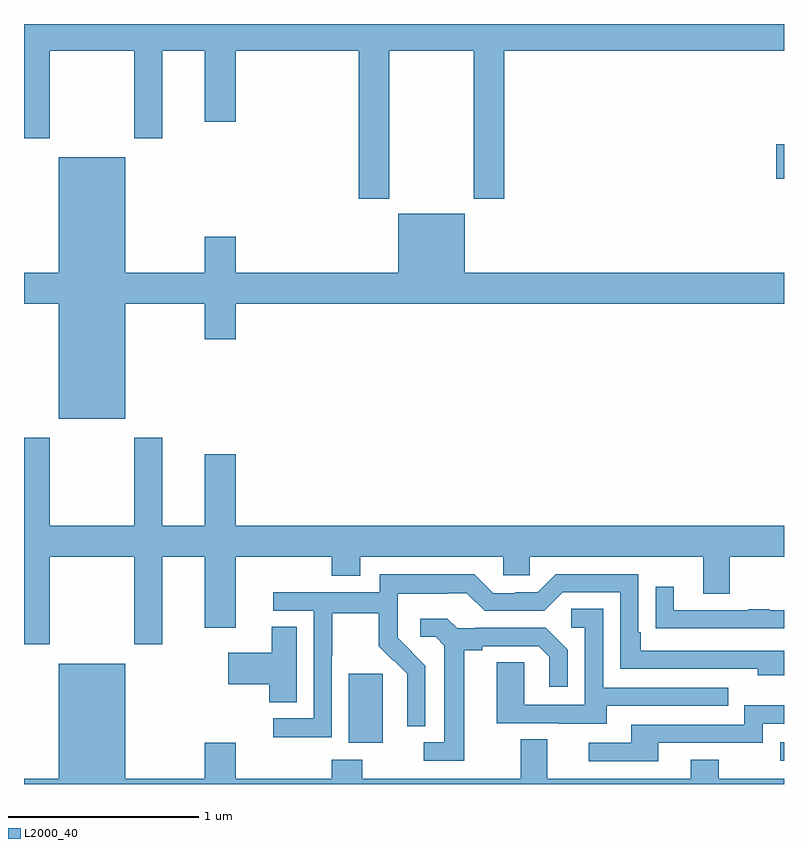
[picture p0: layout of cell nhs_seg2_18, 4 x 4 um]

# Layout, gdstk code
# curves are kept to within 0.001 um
import gdstk
lib = gdstk.Library(unit=1e-6, precision=1e-09)
def R(c, l, rs):  # rectangles x0, y0, x1, y1
    for r in rs: c.add(gdstk.rectangle(r[:2], r[2:], *l))
def P(c, l, *ps):  # polygons
    for p in ps: c.add(gdstk.Polygon(p, *l))
L2000_40 = (2000, 40)

nhs_seg2_18 = lib.new_cell('nhs_seg2_18')
R(nhs_seg2_18, L2000_40, [(114.981,619.923,115,620.019), (112.709,620.018,112.888,620.379), (114.96,622.985,115,623.168)])
P(nhs_seg2_18, L2000_40, [(112.923,623.66),(113.368,623.66),(113.368,622.881),(113.528,622.881),(113.528,623.66),(115,623.66),(115,623.8),(111,623.8),(111,623.199),(111.135,623.199),(111.135,623.66),(111.58,623.66),(111.58,623.199),(111.727,623.199),(111.727,623.66),(111.95,623.66),(111.95,623.286),(112.114,623.286),(112.114,623.66),(112.763,623.66),(112.763,622.881),(112.923,622.881)],
  [(111.532,622.328),(111.95,622.328),(111.95,622.14),(112.114,622.14),(112.114,622.328),(115,622.328),(115,622.492),(113.32,622.492),(113.32,622.801),(112.97,622.801),(112.97,622.492),(112.114,622.492),(112.114,622.681),(111.95,622.681),(111.95,622.492),(111.532,622.492),(111.532,623.098),(111.182,623.098),(111.182,622.492),(111,622.492),(111,622.328),(111.182,622.328),(111.182,621.722),(111.532,621.722)],
  [(111.135,620.996),(111.58,620.996),(111.58,620.535),(111.727,620.535),(111.727,620.996),(111.95,620.996),(111.95,620.622),(112.114,620.622),(112.114,620.996),(112.619,620.996),(112.619,620.897),(112.771,620.897),(112.771,620.996),(113.523,620.996),(113.523,620.898),(113.661,620.898),(113.661,620.996),(114.575,620.996),(114.575,620.802),(114.715,620.802),(114.715,620.996),(115,620.996),(115,621.16),(112.114,621.16),(112.114,621.535),(111.95,621.535),(111.95,621.16),(111.727,621.16),(111.727,621.622),(111.58,621.622),(111.58,621.16),(111.135,621.16),(111.135,621.622),(111,621.622),(111,620.535),(111.135,620.535)],
  [(112.62,620.476),(112.623,620.476),(112.623,620.7),(112.867,620.7),(112.867,620.525),(112.944,620.448),(112.947,620.451),(113.018,620.381),(113.018,620.258),(113.016,620.258),(113.016,620.104),(113.112,620.104),(113.112,620.422),(112.966,620.57),(112.966,620.667),(112.968,620.667),(112.968,620.801),(113.231,620.801),(113.231,620.805),(113.331,620.805),(113.424,620.712),(113.739,620.712),(113.835,620.808),(114.138,620.808),(114.138,620.406),(114.863,620.406),(114.863,620.372),(115,620.372),(115,620.502),(114.247,620.502),(114.247,620.599),(114.234,620.599),(114.234,620.904),(113.799,620.904),(113.703,620.808),(113.585,620.808),(113.585,620.805),(113.469,620.805),(113.369,620.905),(112.872,620.905),(112.872,620.808),(112.311,620.808),(112.311,620.712),(112.524,620.712),(112.524,620.145),(112.311,620.145),(112.311,620.047),(112.62,620.047)],
  [(115,620.715),(114.923,620.715),(114.923,620.72),(114.811,620.72),(114.811,620.715),(114.421,620.715),(114.421,620.839),(114.325,620.839),(114.325,620.62),(114.427,620.62),(114.427,620.619),(115,620.619)],
  [(114.067,620.211),(114.707,620.211),(114.707,620.307),(114.048,620.307),(114.048,620.723),(113.88,620.723),(113.88,620.622),(113.952,620.622),(113.952,620.217),(113.634,620.217),(113.634,620.441),(113.489,620.441),(113.489,620.121),(113.813,620.121),(113.813,620.117),(114.067,620.117)],
  [(113.317,620.504),(113.413,620.504),(113.413,620.526),(113.708,620.526),(113.765,620.469),(113.765,620.313),(113.862,620.313),(113.862,620.506),(113.746,620.622),(113.374,620.622),(113.374,620.619),(113.28,620.619),(113.228,620.671),(113.085,620.671),(113.085,620.574),(113.166,620.574),(113.213,620.527),(113.213,620.019),(113.103,620.019),(113.103,619.923),(113.317,619.923)],
  [(112.435,620.627),(112.304,620.627),(112.304,620.491),(112.074,620.491),(112.074,620.326),(112.292,620.326),(112.292,620.23),(112.435,620.23)],
  [(115,619.828),(114.657,619.828),(114.657,619.927),(114.509,619.927),(114.509,619.828),(113.755,619.828),(113.755,620.036),(113.615,620.036),(113.615,619.828),(112.779,619.828),(112.779,619.927),(112.619,619.927),(112.619,619.828),(112.114,619.828),(112.114,620.017),(111.95,620.017),(111.95,619.828),(111.532,619.828),(111.532,620.434),(111.182,620.434),(111.182,619.828),(111,619.828),(111,619.8),(115,619.8)],
  [(114.337,620.016),(114.888,620.016),(114.888,620.118),(115,620.118),(115,620.215),(114.792,620.215),(114.792,620.112),(114.197,620.112),(114.197,620.016),(113.973,620.016),(113.973,619.92),(114.337,619.92)])

lib.write_gds('nhs_seg2_18.gds')
